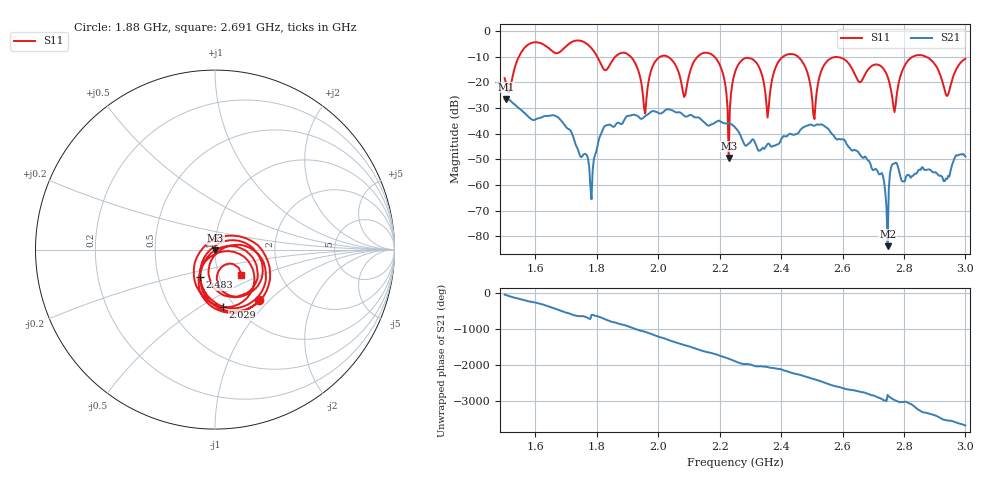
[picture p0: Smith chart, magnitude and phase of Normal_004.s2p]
# HZ S RI R 50
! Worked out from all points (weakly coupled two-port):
!   404 points, 1.5 GHz to 3 GHz, reference 50 ohm
!   highest |S21| = -26.47 dB at 1.504 GHz (marker M1); lowest = -83.8 dB at 2.747 GHz (marker M2)
!   lowest |S11| = -49.4 dB at 2.23 GHz (marker M3), VSWR 1.01, Z = 50.1 - j0.306 ohm
!   |S11| at or under -10 dB: 2.183 GHz to 2.406 GHz (223.2 MHz wide, 9.73 % of centre); 2.455 GHz to 2.828 GHz (373 MHz wide, 14.1 % of centre); 2.873 GHz to end of sweep (the widest 3 of 7)
!   S12 and S22 are empty: the file has one direction only
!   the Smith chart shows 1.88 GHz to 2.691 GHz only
!   S11 on the Smith chart (normalised r, x): 1.88 GHz: 1.32, -0.87; 2.029 GHz: 0.88, -0.63; 2.483 GHz: 0.81, -0.26; 2.691 GHz: 1.28, -0.37
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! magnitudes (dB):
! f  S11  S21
! 1.5 GHz  -18.3  -26.5
! 1.504 GHz  -20.0  -26.5
! 1.753 GHz  -4.0  -48.7
! 1.88 GHz  -8.5  -36.3
! 1.958 GHz  -32.1  -33.1
! 2.002 GHz  -10.3  -32.0
! 2.029 GHz  -9.8  -30.5
! 2.084 GHz  -25.6  -33.0
! 2.181 GHz  -9.8  -36.0
! 2.23 GHz  -49.4  -35.9
! 2.252 GHz  -15.4  -37.8
! 2.315 GHz  -11.8  -43.5
! 2.356 GHz  -33.7  -44.0
! 2.404 GHz  -10.2  -41.5
! 2.483 GHz  -15.1  -36.9
! 2.501 GHz  -26.5  -36.6
! 2.561 GHz  -10.7  -39.3
! 2.691 GHz  -14.0  -51.8
! 2.747 GHz  -17.8  -83.8
! 2.751 GHz  -19.2  -61.6
! 2.94 GHz  -25.3  -57.6
! 3 GHz  -10.8  -48.8
